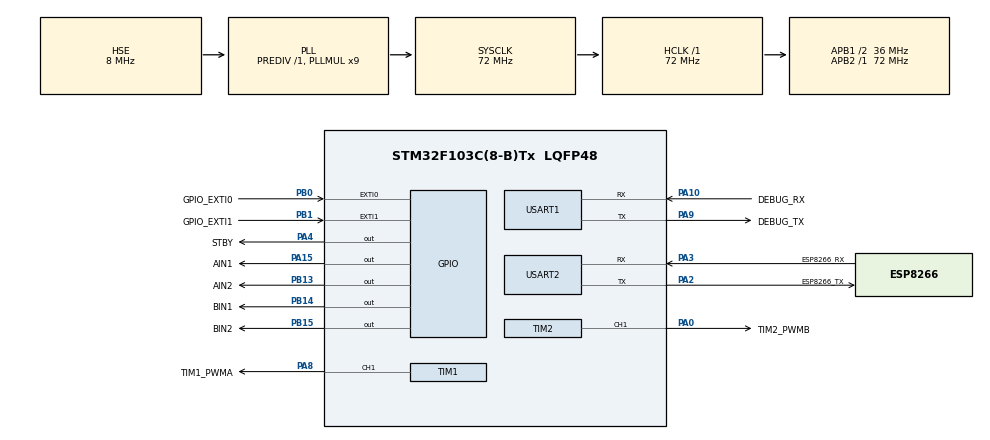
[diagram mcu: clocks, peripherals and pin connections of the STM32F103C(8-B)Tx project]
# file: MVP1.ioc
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Dma.Request0=USART2_RX
Dma.USART2_RX.0.Direction=DMA_PERIPH_TO_MEMORY
Dma.USART2_RX.0.Instance=DMA1_Channel6
Dma.USART2_RX.0.MemDataAlignment=DMA_MDATAALIGN_BYTE
Dma.USART2_RX.0.MemInc=DMA_MINC_ENABLE
Dma.USART2_RX.0.Mode=DMA_NORMAL
Dma.USART2_RX.0.PeriphDataAlignment=DMA_PDATAALIGN_BYTE
Dma.USART2_RX.0.PeriphInc=DMA_PINC_DISABLE
Dma.USART2_RX.0.Priority=DMA_PRIORITY_LOW
Mcu.Family=STM32F1
Mcu.Name=STM32F103C(8-B)Tx
Mcu.Package=LQFP48
NVIC.DMA1_Channel6_IRQn=true\:0\:0\:false\:false\:true\:false\:true\:true
NVIC.EXTI0_IRQn=true\:0\:0\:false\:false\:true\:true\:true\:true
NVIC.EXTI1_IRQn=true\:0\:0\:false\:false\:true\:true\:true\:true
NVIC.PriorityGroup=NVIC_PRIORITYGROUP_4
NVIC.USART2_IRQn=true\:0\:0\:false\:false\:true\:true\:true\:true
PA0-WKUP.GPIO_Label=TIM2_PWMB
PA0-WKUP.Signal=S_TIM2_CH1_ETR
PA10.GPIO_Label=DEBUG_RX
PA10.Mode=Asynchronous
PA10.Signal=USART1_RX
PA13.Mode=Serial_Wire
PA13.Signal=SYS_JTMS-SWDIO
PA14.Mode=Serial_Wire
PA14.Signal=SYS_JTCK-SWCLK
PA15.GPIO_Label=AIN1
PA15.Signal=GPIO_Output
PA2.GPIO_Label=ESP8266_TX
PA2.Mode=Asynchronous
PA2.Signal=USART2_TX
PA3.GPIO_Label=ESP8266_RX
PA3.Mode=Asynchronous
PA3.Signal=USART2_RX
PA4.GPIO_Label=STBY
PA4.Signal=GPIO_Output
PA8.GPIO_Label=TIM1_PWMA
PA8.Signal=S_TIM1_CH1
PA9.GPIO_Label=DEBUG_TX
PA9.Mode=Asynchronous
PA9.Signal=USART1_TX
PB0.GPIO_Label=GPIO_EXTI0
PB0.GPIO_ModeDefaultEXTI=GPIO_MODE_IT_FALLING
PB0.GPIO_PuPd=GPIO_PULLUP
PB0.Signal=GPXTI0
PB1.GPIO_Label=GPIO_EXTI1
PB1.GPIO_ModeDefaultEXTI=GPIO_MODE_IT_FALLING
PB1.GPIO_PuPd=GPIO_PULLUP
PB1.Signal=GPXTI1
PB13.GPIO_Label=AIN2
PB13.Signal=GPIO_Output
PB14.GPIO_Label=BIN1
PB14.Signal=GPIO_Output
PB15.GPIO_Label=BIN2
PB15.Signal=GPIO_Output
PC14-OSC32_IN.Mode=LSE-External-Oscillator
PC14-OSC32_IN.Signal=RCC_OSC32_IN
PC15-OSC32_OUT.Mode=LSE-External-Oscillator
PC15-OSC32_OUT.Signal=RCC_OSC32_OUT
PD0-OSC_IN.Mode=HSE-External-Oscillator
PD0-OSC_IN.Signal=RCC_OSC_IN
PD1-OSC_OUT.Mode=HSE-External-Oscillator
PD1-OSC_OUT.Signal=RCC_OSC_OUT
ProjectManager.HeapSize=0x200
ProjectManager.StackSize=0x400
ProjectManager.TargetToolchain=MDK-ARM V5.32
RCC.AHBFreq_Value=72000000
RCC.APB1CLKDivider=RCC_HCLK_DIV2
RCC.APB1Freq_Value=36000000
RCC.APB1TimFreq_Value=72000000
RCC.APB2Freq_Value=72000000
RCC.APB2TimFreq_Value=72000000
RCC.HCLKFreq_Value=72000000
RCC.PLLMUL=RCC_PLL_MUL9
RCC.PLLSourceVirtual=RCC_PLLSOURCE_HSE
RCC.SYSCLKFreq_VALUE=72000000
RCC.SYSCLKSource=RCC_SYSCLKSOURCE_PLLCLK
RCC.USBFreq_Value=72000000
SH.S_TIM1_CH1.0=TIM1_CH1,PWM Generation1 CH1
SH.S_TIM2_CH1_ETR.0=TIM2_CH1,PWM Generation1 CH1
TIM1.AutoReloadPreload=TIM_AUTORELOAD_PRELOAD_ENABLE
TIM1.Channel-PWM\ Generation1\ CH1=TIM_CHANNEL_1
TIM1.Period=100
TIM1.Prescaler=72-1
TIM2.AutoReloadPreload=TIM_AUTORELOAD_PRELOAD_ENABLE
TIM2.Channel-PWM\ Generation1\ CH1=TIM_CHANNEL_1
TIM2.Period=100
TIM2.Prescaler=72-1
USART1.VirtualMode=VM_ASYNC
USART2.VirtualMode=VM_ASYNC
board=custom

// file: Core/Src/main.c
/* USER CODE BEGIN Header */
/**
  ******************************************************************************
  * @file           : main.c
  * @brief          : Main program body
  ******************************************************************************
  * @attention
  *
  * Copyright (c) 2026 STMicroelectronics.
  * All rights reserved.
  *
  * This software is licensed under terms that can be found in the LICENSE file
  * in the root directory of this software component.
  * If no LICENSE file comes with this software, it is provided AS-IS.
  *
  ******************************************************************************
  */
/* USER CODE END Header */
#include "main.h"
#include "dma.h"
#include "tim.h"
#include "usart.h"
#include "gpio.h"

/* USER CODE BEGIN Includes */

#include <stdio.h>
#include <string.h>
#include "../../MDK-ARM/motor.h"
#include "../../MDK-ARM/PID.h"

/* USER CODE END Includes */

/* USER CODE BEGIN PTD */

typedef enum
{
	STATE_STOP = 0x41,//'A'
	STATE_MOVE,
	STATE_BACK,
	STATE_TURN_LEFT,
	STATE_TURN_RIGHT,
	STATE_ROTATE_LEFT,
	STATE_ROTATE_RIGHT,//'G'
	STATE_SET_DUTY = 'J'
} CarState;

/* USER CODE END PTD */

/* USER CODE BEGIN PD */

#define LENGTH_UDP 64

/* USER CODE END PD */

/* USER CODE BEGIN PV */

const char* ESP8266_AT[] =
{
	"AT+CWMODE=2\r\n",                    			// 重启模块
    "AT+RST\r\n",              			// AP模式
    "AT+CWSAP=\"Car_AP2\",\"12345678\",1,3\r\n",	// 设置热点
    "AT+CIPMUX=0\r\n",              			// 单连接模式
    "AT+CIPSTART=\"UDP\",\"192.168.4.1\",8080,8080,0\r\n",
    NULL
};
uint8_t buffer_RX[LENGTH_UDP];
int8_t duty_cycle = 0;
//uint8_t CCR_ratio[2] = {100, 100};
CarState car_state = STATE_STOP;
uint8_t completed = 1;

/* USER CODE END PV */

void SystemClock_Config(void);
/* USER CODE BEGIN PFP */

void ESP8266_Init(void);
void ExecuteCommand(void);

/* USER CODE END PFP */

int main(void)
{

  /* MCU Configuration--------------------------------------------------------*/

  /* Reset of all peripherals, Initializes the Flash interface and the Systick. */
  HAL_Init();

  /* Configure the system clock */
  SystemClock_Config();

  /* Initialize all configured peripherals */
  MX_GPIO_Init();
  MX_DMA_Init();
  MX_TIM1_Init();
  MX_USART2_UART_Init();
  MX_USART1_UART_Init();
  MX_TIM2_Init();
  /* USER CODE BEGIN 2 */

	ESP8266_Init();
	HAL_UARTEx_ReceiveToIdle_DMA(&huart2, buffer_RX, LENGTH_UDP);

	//start PWM
	HAL_TIM_PWM_Start(&htim1, TIM_CHANNEL_1);
	HAL_TIM_PWM_Start(&htim2, TIM_CHANNEL_1);

  /* USER CODE END 2 */

  /* Infinite loop */
  /* USER CODE BEGIN WHILE */
	while (1)
	{
		if(car_state == STATE_MOVE)
		{
			__HAL_TIM_SET_COMPARE(&htim1, TIM_CHANNEL_1, duty_cycle);
			__HAL_TIM_SET_COMPARE(&htim2, TIM_CHANNEL_1, duty_cycle + (int)PID_GetIncrement(RPM[0] - RPM[1]));
		}

		if(completed)//no new command
			continue;

		switch(car_state)
		{
			case STATE_STOP:
				//TB6612FNG stand by
				HAL_GPIO_WritePin(STBY_GPIO_Port, STBY_Pin, GPIO_PIN_RESET);

				printf("STATE_STOP\n");
				PID_Kd =1;
				completed = 1;

				break;
			case STATE_MOVE://测试马达方向
				//both move forward
				//stand by
				HAL_GPIO_WritePin(STBY_GPIO_Port, STBY_Pin, GPIO_PIN_RESET);
				//reset duty cycle
				__HAL_TIM_SET_COMPARE(&htim1, TIM_CHANNEL_1, duty_cycle);
				__HAL_TIM_SET_COMPARE(&htim2, TIM_CHANNEL_1, duty_cycle + (int)PID_GetIncrement(RPM[0] - RPM[1]));
				//set motors direction
				MotorL_Go();
				MotorR_Go();
				//TB6612FNG work
				HAL_GPIO_WritePin(STBY_GPIO_Port, STBY_Pin, GPIO_PIN_SET);

				//send L&R RPM to phone
				//ESP8266_SendRPM(&huart2);
				//printf("PWM duty cycle: %d\r\n", duty_cycle);
				printf("Kp: %f, Ki: %f, Kd: %f\r\n", PID_Kp, PID_Ki, PID_Kd);
				printf("L.RPM: %d, R.RPM: %d\r\n", RPM[0], RPM[1]);

				printf("L - R: %d\r\n", RPM[0] - RPM[1]);

				completed = 1;
				break;
			case STATE_BACK://测试马达方向
				//both move backward
				//stand by
				HAL_GPIO_WritePin(STBY_GPIO_Port, STBY_Pin, GPIO_PIN_RESET);
				//reset duty cycle
				__HAL_TIM_SET_COMPARE(&htim1, TIM_CHANNEL_1, duty_cycle);
				__HAL_TIM_SET_COMPARE(&htim2, TIM_CHANNEL_1, duty_cycle);
				//set motors direction
				MotorL_Back();
				MotorR_Back();
				//motors work
				HAL_GPIO_WritePin(STBY_GPIO_Port, STBY_Pin, GPIO_PIN_SET);

				printf("STATE_BACK\n");

//				printf("Kp: %f, Ki: %f, Kd: %f\r\n", PID_Kp, PID_Ki, PID_Kd);
//				printf("duty L: %d, R: %d\r\n", __HAL_TIM_GET_COMPARE(&htim1, TIM_CHANNEL_1), __HAL_TIM_GET_COMPARE(&htim2, TIM_CHANNEL_1));
//				printf("L.RPM: %d, R.RPM: %d\r\n", RPM[0], RPM[1]);
//				printf("L - R: %d\r\n", RPM[0] - RPM[1]);
				completed = 1;
				break;
			case STATE_TURN_LEFT:
				//halve left PWM CCR
				__HAL_TIM_SET_COMPARE(&htim1, TIM_CHANNEL_1, duty_cycle / 2);

				printf("STATE_TURN_LEFT\n");

				completed = 1;
				break;
			case STATE_TURN_RIGHT:
				//halve right PWM CCR
				__HAL_TIM_SET_COMPARE(&htim2, TIM_CHANNEL_1, duty_cycle / 2);

				printf("STATE_TURN_RIGHT\n");

				completed = 1;
				break;
			case STATE_ROTATE_LEFT://确定方向
				//reverse left wheels
				//stand by
				HAL_GPIO_WritePin(STBY_GPIO_Port, STBY_Pin, GPIO_PIN_RESET);
				//reset duty cycle
				__HAL_TIM_SET_COMPARE(&htim1, TIM_CHANNEL_1, duty_cycle);
				__HAL_TIM_SET_COMPARE(&htim2, TIM_CHANNEL_1, duty_cycle);
				//set motors direction
				MotorL_Back();
				MotorR_Go();
				//motors work
				HAL_GPIO_WritePin(STBY_GPIO_Port, STBY_Pin, GPIO_PIN_SET);

				printf("STATE_ROTATE_LEFT\n");

				completed = 1;
				break;
			case STATE_ROTATE_RIGHT://确定方向
				//reverse right wheels
				//stand by
				HAL_GPIO_WritePin(STBY_GPIO_Port, STBY_Pin, GPIO_PIN_RESET);
				//reset duty cycle
				__HAL_TIM_SET_COMPARE(&htim1, TIM_CHANNEL_1, duty_cycle);
				__HAL_TIM_SET_COMPARE(&htim2, TIM_CHANNEL_1, duty_cycle);
				//set motors direction
				MotorL_Go();
				MotorR_Back();
				//motors work
				HAL_GPIO_WritePin(STBY_GPIO_Port, STBY_Pin, GPIO_PIN_SET);

				printf("STATE_ROTATE_RIGHT\n");

				completed = 1;
				break;

			default:
				completed = 1;
				break;
		}

    /* USER CODE END WHILE */

	}
}

void SystemClock_Config(void)
{
  RCC_OscInitTypeDef RCC_OscInitStruct = {0};
  RCC_ClkInitTypeDef RCC_ClkInitStruct = {0};

  /** Initializes the RCC Oscillators according to the specified parameters
  * in the RCC_OscInitTypeDef structure.
  */
  RCC_OscInitStruct.OscillatorType = RCC_OSCILLATORTYPE_HSE;
  RCC_OscInitStruct.HSEState = RCC_HSE_ON;
  RCC_OscInitStruct.HSEPredivValue = RCC_HSE_PREDIV_DIV1;
  RCC_OscInitStruct.HSIState = RCC_HSI_ON;
  RCC_OscInitStruct.PLL.PLLState = RCC_PLL_ON;
  RCC_OscInitStruct.PLL.PLLSource = RCC_PLLSOURCE_HSE;
  RCC_OscInitStruct.PLL.PLLMUL = RCC_PLL_MUL9;
  if (HAL_RCC_OscConfig(&RCC_OscInitStruct) != HAL_OK)
  {
    Error_Handler();
  }

  /** Initializes the CPU, AHB and APB buses clocks
  */
  RCC_ClkInitStruct.ClockType = RCC_CLOCKTYPE_HCLK|RCC_CLOCKTYPE_SYSCLK
                              |RCC_CLOCKTYPE_PCLK1|RCC_CLOCKTYPE_PCLK2;
  RCC_ClkInitStruct.SYSCLKSource = RCC_SYSCLKSOURCE_PLLCLK;
  RCC_ClkInitStruct.AHBCLKDivider = RCC_SYSCLK_DIV1;
  RCC_ClkInitStruct.APB1CLKDivider = RCC_HCLK_DIV2;
  RCC_ClkInitStruct.APB2CLKDivider = RCC_HCLK_DIV1;

  if (HAL_RCC_ClockConfig(&RCC_ClkInitStruct, FLASH_LATENCY_2) != HAL_OK)
  {
    Error_Handler();
  }
}

/* USER CODE BEGIN 4 */

int fputc(int ch, FILE* f)
{
	HAL_UART_Transmit(&huart1, (uint8_t*)&ch, 1, HAL_MAX_DELAY);
	return ch;
}

void ESP8266_Init()
{
	//reset ESP8266
	//PA4 low for 100ms
//	HAL_GPIO_WritePin(GPIOA, GPIO_PIN_4, GPIO_PIN_RESET);
//	HAL_Delay(100);
//	//PA4 high
//	HAL_GPIO_WritePin(GPIOA, GPIO_PIN_4, GPIO_PIN_SET);
//	HAL_Delay(1000);

	//send AT orders to ESP8266
	for(uint8_t i = 0; ESP8266_AT[i] != NULL; i++)
	{
		HAL_UART_Transmit(&huart2, (uint8_t*)ESP8266_AT[i], strlen(ESP8266_AT[i]), 1000);
		HAL_Delay(500);
	}

}

void ExecuteCommand()//change car_state according to command
{
	//check if starts with +IPD, 2 spaces in front!
	if(!memcmp("+IPD,", buffer_RX + 2, 5))
	{
		if(buffer_RX[7 + 2] < 0x41 || buffer_RX[7 + 2] > 0x5A)
			return;//not uppercase letter

		completed = 0;

		//handle according to byte
		switch(buffer_RX[7 + 2])
		{
			case 'H'://gear up
				printf("gear up\n");

				duty_cycle = (duty_cycle + 20) % 100;
				__HAL_TIM_SET_COMPARE(&htim1, TIM_CHANNEL_1, duty_cycle);
				__HAL_TIM_SET_COMPARE(&htim2, TIM_CHANNEL_1, duty_cycle);
				completed = 1;

				printf("duty_cycle:%i\n", duty_cycle);

				break;
			case 'I'://gear up
				printf("gear down\n");

				duty_cycle = (duty_cycle - 20) % 100;
				__HAL_TIM_SET_COMPARE(&htim1, TIM_CHANNEL_1, duty_cycle);
				__HAL_TIM_SET_COMPARE(&htim2, TIM_CHANNEL_1, duty_cycle);
				completed = 1;

				printf("duty_cycle:%i\n", duty_cycle);

				break;

			case STATE_SET_DUTY://set duty cycle
				//printf("buffer_RXS %s\n", buffer_RX);
				duty_cycle = (buffer_RX[10] - '0') * 10 + (buffer_RX[11] - '0');

				completed = 1;
				break;

			case 'K'://set PID_Kp
				PID_Kp = ((buffer_RX[10] - '0') * 10 + buffer_RX[11] - '0') / 100.;
				completed = 1;
				break;

			case 'L'://set PID_Ki
				PID_Ki = ((buffer_RX[10] - '0') * 10 + buffer_RX[11] - '0') / 100.;
				completed = 1;
				break;

			case 'M'://set PID_Kd
				PID_Kd = ((buffer_RX[10] - '0') * 10 + buffer_RX[11] - '0') / 100.;
				completed = 1;
				break;

			default:

				//printf("A-G\n");

				car_state = buffer_RX[7 + 2];//change car state
				break;
		}
	}
}

void HAL_UARTEx_RxEventCallback(UART_HandleTypeDef* huart, uint16_t size_t)
{
	if(huart->Instance == USART2)
	{
		//debug
		//printf("\n\nreceived:");
		HAL_UART_Transmit(&huart1, buffer_RX, size_t, 100);
		//printf("\nsize_t == %i\n", size_t);

		//execute command from remote control terminal
		ExecuteCommand();

		//receive again
		HAL_UARTEx_ReceiveToIdle_DMA(&huart2, buffer_RX, LENGTH_UDP);
	}
}

void HAL_GPIO_EXTI_Callback(uint16_t pin)//external interrupts
{

	//printf("EXTI: %d\r\n", pin);

	if(pin == GPIO_EXTI0_Pin)//PB0 EXTI0
	{//left trigger
		if(HAL_GetTick() - EXTI_ticks[0] < 7)
			return;//debounce

		EXTI_counts[0]++;
		if(EXTI_counts[0] < 20)
			return;
		EXTI_counts[0] = 0;
		RPM[0] = ROTATED / (HAL_GetTick() - EXTI_ticks[0]);
		EXTI_ticks[0] = HAL_GetTick();
		return;
		//printf("L trigger\r\n");
	}
	if(pin == GPIO_EXTI1_Pin)//PB1 EXTI1
	{//right trigger
		if(HAL_GetTick() - EXTI_ticks[1] < 7)
			return;//debounce

		EXTI_counts[1]++;
		if(EXTI_counts[1] < 20)
			return;
		EXTI_counts[1] = 0;
		RPM[1] = ROTATED / (HAL_GetTick() - EXTI_ticks[1]);
		EXTI_ticks[1] = HAL_GetTick();
		return;
		//printf("R trigger\r\n");
	}
}

/* USER CODE END 4 */

void Error_Handler(void)
{
  __disable_irq();
  while (1)
  {
  }
}
